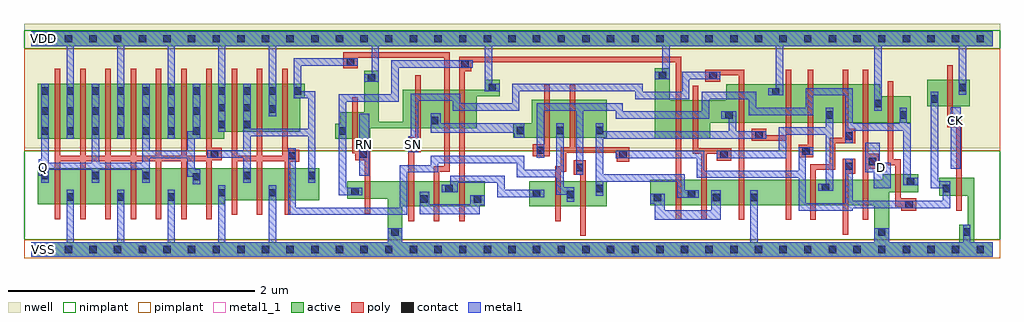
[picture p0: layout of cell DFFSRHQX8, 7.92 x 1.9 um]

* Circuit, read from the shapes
.subckt DFFSRHQX8 CK D Q RN SN VDD VSS
M1 VSS n1 Q VSS nfet w=0.295u l=0.045u m=7
M2 n1 n2 VSS VSS nfet w=0.26u l=0.045u m=3
M3 VSS RN n3 VSS nfet w=0.145u l=0.045u
M4 n4 SN VSS VSS nfet w=0.205u l=0.045u
M5 n5 n1 n4 VSS nfet w=0.205u l=0.045u
M6 n4 n3 n5 VSS nfet w=0.205u l=0.045u
M7 n2 n6 n5 VSS nfet w=0.205u l=0.045u
M8 n7 n8 n2 VSS nfet w=0.205u l=0.045u
M9 n7 n3 n9 VSS nfet w=0.205u l=0.045u
M10 n9 n10 n7 VSS nfet w=0.205u l=0.045u
M11 VSS SN n9 VSS nfet w=0.205u l=0.045u
M12 n11 n7 VSS VSS nfet w=0.205u l=0.045u
M13 n10 n8 n11 VSS nfet w=0.205u l=0.045u
M14 n12 n6 n10 VSS nfet w=0.205u l=0.045u
M15 VSS D n12 VSS nfet w=0.205u l=0.045u
M16 n8 n6 VSS VSS nfet w=0.145u l=0.045u
M17 VSS CK n6 VSS nfet w=0.145u l=0.045u
M18 VDD n1 Q VDD pfet w=0.445u l=0.045u m=7
M19 n1 n2 VDD VDD pfet w=0.39u l=0.045u m=3
M20 VDD RN n3 VDD pfet w=0.215u l=0.045u
M21 n13 SN VDD VDD pfet w=0.31u l=0.045u
M22 n14 n1 n13 VDD pfet w=0.31u l=0.045u
M23 VDD n3 n14 VDD pfet w=0.31u l=0.045u
M24 n2 n8 n13 VDD pfet w=0.31u l=0.045u
M25 n7 n6 n2 VDD pfet w=0.31u l=0.045u
M26 n15 n3 VDD VDD pfet w=0.31u l=0.045u
M27 n7 n10 n15 VDD pfet w=0.31u l=0.045u
M28 VDD SN n7 VDD pfet w=0.31u l=0.045u
M29 n16 n7 VDD VDD pfet w=0.31u l=0.045u
M30 n10 n6 n16 VDD pfet w=0.31u l=0.045u
M31 n17 n8 n10 VDD pfet w=0.31u l=0.045u
M32 VDD D n17 VDD pfet w=0.31u l=0.045u
M33 n8 n6 VDD VDD pfet w=0.215u l=0.045u
M34 VDD CK n6 VDD pfet w=0.215u l=0.045u
.ends

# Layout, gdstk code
import gdstk
lib = gdstk.Library(unit=1e-6, precision=5e-10)
def R(c, l, rs):  # rectangles x0, y0, x1, y1
    for r in rs: c.add(gdstk.rectangle(r[:2], r[2:], *l))
def A(c, l, x, y, w, h, nx, ny, dx, dy):  # array of equal rectangles
    R(c, l, [(x+i*dx, y+j*dy, x+i*dx+w, y+j*dy+h) for i in range(nx) for j in range(ny)])
def P(c, l, *ps):  # polygons
    for p in ps: c.add(gdstk.Polygon(p, *l))
active = (1, 0)
nwell = (2, 0)
poly = (3, 0)
nimplant = (4, 0)
pimplant = (5, 0)
contact = (6, 0)
metal1 = (7, 0)
metal1_1 = (7, 1)

dffsrhqx8 = lib.new_cell('DFFSRHQX8')
R(dffsrhqx8, active, [(4.04,0.35,4.67,0.555), (7.27,1.16,7.615,1.375), (0,1.65,7.8,1.77)])
P(dffsrhqx8, active, [(0.05,1.345),(2.22,1.345),(2.22,1.225),(2.18,1.225),(2.18,0.955),(1.565,0.955),(1.565,0.9),(0.05,0.9)],
  [(2.7,1.45),(2.82,1.45),(2.82,1.035),(3.015,1.035),(3.015,1.295),(3.68,1.295),(3.68,1.375),(3.8,1.375),(3.8,1.245),(3.615,1.245),(3.615,0.985),(2.75,0.985),(2.75,0.9),(2.465,0.9),(2.465,1.02),(2.505,1.02),(2.505,1.115),(2.7,1.115)],
  [(5.06,1.47),(5.18,1.47),(5.18,1.21),(5.64,1.21),(5.64,1.34),(6.89,1.34),(6.89,1.245),(7.135,1.245),(7.135,1.03),(5.51,1.03),(5.51,0.9),(5.06,0.9)],
  [(4.06,1.215),(4.67,1.215),(4.67,0.905),(3.91,0.905),(3.91,1.025),(4.06,1.025)],
  [(0.05,0.66),(2.335,0.66),(2.335,0.4),(1.565,0.4),(1.565,0.365),(0.05,0.365)],
  [(6.91,0.61),(7.195,0.61),(7.195,0.465),(6.96,0.465),(6.96,0.06),(7.53,0.06),(7.53,0.2),(7.6,0.2),(7.6,0.435),(7.365,0.435),(7.365,0.58),(7.65,0.58),(7.65,0.06),(7.8,0.06),(7.8,-0.06),(0,-0.06),(0,0.06),(2.89,0.06),(2.89,0.41),(2.565,0.41),(2.565,0.555),(3.68,0.555),(3.68,0.35),(3.01,0.35),(3.01,0.06),(6.84,0.06),(6.84,0.36),(5.02,0.36),(5.02,0.565),(6.91,0.565)])
R(dffsrhqx8, nwell, [(-0.06,0.82,7.86,1.83)])
P(dffsrhqx8, poly, [(0.19,1.465),(0.235,1.465),(0.235,0.76),(0.395,0.76),(0.395,1.465),(0.44,1.465),(0.44,0.76),(0.6,0.76),(0.6,1.465),(0.645,1.465),(0.645,0.76),(0.805,0.76),(0.805,1.465),(0.85,1.465),(0.85,0.76),(1.01,0.76),(1.01,1.465),(1.055,1.465),(1.055,0.76),(1.215,0.76),(1.215,1.465),(1.26,1.465),(1.26,0.76),(1.42,0.76),(1.42,1.465),(1.465,1.465),(1.465,0.825),(1.545,0.825),(1.545,0.725),(1.465,0.725),(1.465,0.245),(1.42,0.245),(1.42,0.715),(1.26,0.715),(1.26,0.245),(1.215,0.245),(1.215,0.715),(1.055,0.715),(1.055,0.245),(1.01,0.245),(1.01,0.715),(0.85,0.715),(0.85,0.245),(0.805,0.245),(0.805,0.715),(0.645,0.715),(0.645,0.245),(0.6,0.245),(0.6,0.715),(0.44,0.715),(0.44,0.245),(0.395,0.245),(0.395,0.715),(0.235,0.715),(0.235,0.245),(0.19,0.245)],
  [(1.625,1.465),(1.67,1.465),(1.67,0.76),(1.83,0.76),(1.83,1.465),(1.875,1.465),(1.875,0.76),(2.035,0.76),(2.035,1.465),(2.08,1.465),(2.08,0.81),(2.175,0.81),(2.175,0.71),(2.1,0.71),(2.1,0.28),(2.055,0.28),(2.055,0.715),(1.875,0.715),(1.875,0.28),(1.83,0.28),(1.83,0.715),(1.67,0.715),(1.67,0.28),(1.625,0.28)],
  [(2.53,1.6),(3.395,1.6),(3.395,0.63),(3.31,0.63),(3.31,0.23),(3.265,0.23),(3.265,0.675),(3.35,0.675),(3.35,1.555),(2.65,1.555),(2.65,1.47),(2.53,1.47)],
  [(2.605,1.235),(2.65,1.235),(2.65,0.825),(2.75,0.825),(2.75,0.29),(2.705,0.29),(2.705,0.725),(2.63,0.725),(2.63,0.78),(2.605,0.78)],
  [(3.115,1.415),(3.16,1.415),(3.16,0.79),(3.105,0.79),(3.105,0.23),(3.06,0.23),(3.06,0.91),(3.115,0.91)],
  [(3.47,1.565),(5.275,1.565),(5.275,0.24),(5.23,0.24),(5.23,1.52),(3.57,1.52),(3.57,1.445),(3.515,1.445),(3.515,0.23),(3.47,0.23)],
  [(4.16,1.335),(4.205,1.335),(4.205,0.755),(4.07,0.755),(4.07,0.855),(4.16,0.855)],
  [(4.37,1.335),(4.415,1.335),(4.415,0.83),(4.85,0.83),(4.85,0.71),(4.75,0.71),(4.75,0.785),(4.34,0.785),(4.34,0.63),(4.295,0.63),(4.295,0.23),(4.25,0.23),(4.25,0.675),(4.295,0.675),(4.295,0.83),(4.37,0.83)],
  [(5.47,1.46),(5.785,1.46),(5.785,0.24),(5.74,0.24),(5.74,1.415),(5.59,1.415),(5.59,1.36),(5.47,1.36)],
  [(5.365,1.33),(5.41,1.33),(5.41,0.82),(5.68,0.82),(5.68,0.72),(5.56,0.72),(5.56,0.775),(5.48,0.775),(5.48,0.24),(5.435,0.24),(5.435,0.775),(5.365,0.775)],
  [(5.845,0.98),(5.965,0.98),(5.965,0.925),(6.12,0.925),(6.12,1.46),(6.165,1.46),(6.165,0.24),(6.12,0.24),(6.12,0.88),(5.845,0.88)],
  [(6.3,1.46),(6.345,1.46),(6.345,0.75),(6.225,0.75),(6.225,0.85),(6.3,0.85)],
  [(6.585,1.46),(6.63,1.46),(6.63,0.98),(6.685,0.98),(6.685,0.86),(6.525,0.86),(6.525,0.645),(6.365,0.645),(6.365,0.24),(6.32,0.24),(6.32,0.69),(6.48,0.69),(6.48,0.905),(6.585,0.905)],
  [(6.745,1.46),(6.79,1.46),(6.79,0.775),(6.875,0.775),(6.875,0.655),(6.79,0.655),(6.79,0.24),(6.745,0.24)],
  [(6.95,1.365),(6.995,1.365),(6.995,0.73),(7.055,0.73),(7.055,0.415),(7.18,0.415),(7.18,0.315),(7.06,0.315),(7.06,0.345),(7.01,0.345),(7.01,0.685),(6.95,0.685)],
  [(7.43,1.495),(7.475,1.495),(7.475,1.09),(7.55,1.09),(7.55,0.315),(7.505,0.315),(7.505,0.99),(7.43,0.99)],
  [(4.4,0.725),(4.5,0.725),(4.5,0.11),(4.455,0.11),(4.455,0.605),(4.4,0.605)],
  [(6.585,0.735),(6.685,0.735),(6.685,0.615),(6.63,0.615),(6.63,0.12),(6.585,0.12)])
R(dffsrhqx8, nimplant, [(-0.06,0.08,7.86,0.8), (-0.06,1.63,7.86,1.78)])
R(dffsrhqx8, pimplant, [(-0.06,-0.07,7.86,0.08), (-0.06,0.8,7.86,1.63)])
A(dffsrhqx8, contact, 0.07, -0.03, 0.06, 0.06, 39, 2, 0.2, 1.71)
A(dffsrhqx8, contact, 0.285, 0.395, 0.06, 0.06, 3, 1, 0.41, 0)
A(dffsrhqx8, contact, 0.08, 0.57, 0.06, 0.06, 3, 1, 0.41, 0)
A(dffsrhqx8, contact, 0.08, 0.93, 0.06, 0.06, 7, 2, 0.205, 0.165)
A(dffsrhqx8, contact, 3.94, 0.935, 0.06, 0.06, 3, 1, 0.32, 0)
A(dffsrhqx8, contact, 0.08, 1.255, 0.06, 0.06, 11, 1, 0.205, 0)
R(dffsrhqx8, contact, [(2.92,0.11,2.98,0.17), (6.87,0.11,6.93,0.17), (7.56,0.11,7.62,0.17), (7.09,0.335,7.15,0.395), (3.155,0.38,3.215,0.44), (3.59,0.38,3.65,0.44), (5.05,0.39,5.11,0.45), (5.53,0.39,5.59,0.45), (5.835,0.39,5.895,0.45), (4.345,0.415,4.405,0.475), (5.325,0.42,5.385,0.48), (4.07,0.425,4.13,0.485), (1.515,0.43,1.575,0.49), (1.925,0.43,1.985,0.49), (2.595,0.44,2.655,0.5), (3.36,0.465,3.42,0.525), (4.58,0.465,4.64,0.525), (7.395,0.465,7.455,0.525), (6.415,0.475,6.475,0.535), (7.105,0.52,7.165,0.58), (1.31,0.56,1.37,0.62), (1.72,0.57,1.78,0.63), (2.245,0.57,2.305,0.63), (4.42,0.635,4.48,0.695), (6.605,0.645,6.665,0.705), (6.795,0.685,6.855,0.745), (2.085,0.73,2.145,0.79), (4.77,0.74,4.83,0.8), (5.59,0.74,5.65,0.8), (1.455,0.745,1.515,0.805), (2.66,0.745,2.72,0.805), (6.255,0.77,6.315,0.83), (4.1,0.775,4.16,0.835), (3.08,0.82,3.14,0.88), (6.605,0.89,6.665,0.95), (5.875,0.9,5.935,0.96), (2.495,0.93,2.555,0.99), (1.515,0.985,1.575,1.045), (1.72,0.985,1.78,1.045), (7.46,1.01,7.52,1.07), (3.24,1.015,3.3,1.075), (5.63,1.06,5.69,1.12), (6.445,1.06,6.505,1.12), (7.045,1.06,7.105,1.12), (1.925,1.11,1.985,1.17), (1.515,1.12,1.575,1.18), (1.72,1.12,1.78,1.18), (6.84,1.155,6.9,1.215), (7.3,1.19,7.36,1.25), (6.01,1.25,6.07,1.31), (3.71,1.285,3.77,1.345), (7.525,1.285,7.585,1.345), (2.73,1.36,2.79,1.42), (5.09,1.38,5.15,1.44), (5.5,1.38,5.56,1.44), (3.49,1.475,3.55,1.535), (2.56,1.49,2.62,1.55)])
R(dffsrhqx8, metal1, [(2.66,0.6,2.74,1.1), (7.46,0.655,7.54,1.155)])
P(dffsrhqx8, metal1, [(0,1.77),(7.8,1.77),(7.8,1.65),(7.585,1.65),(7.585,1.255),(7.525,1.255),(7.525,1.65),(6.9,1.65),(6.9,1.125),(6.84,1.125),(6.84,1.65),(6.1,1.65),(6.1,1.25),(5.98,1.25),(5.98,1.31),(6.04,1.31),(6.04,1.65),(5.18,1.65),(5.18,1.38),(5.06,1.38),(5.06,1.44),(5.12,1.44),(5.12,1.65),(3.74,1.65),(3.74,1.345),(3.8,1.345),(3.8,1.285),(3.68,1.285),(3.68,1.65),(2.82,1.65),(2.82,1.36),(2.7,1.36),(2.7,1.42),(2.76,1.42),(2.76,1.65),(1.985,1.65),(1.985,1.08),(1.925,1.08),(1.925,1.65),(1.575,1.65),(1.575,0.955),(1.515,0.955),(1.515,1.65),(1.165,1.65),(1.165,0.9),(1.105,0.9),(1.105,1.65),(0.755,1.65),(0.755,0.9),(0.695,0.9),(0.695,1.65),(0.345,1.65),(0.345,0.9),(0.285,0.9),(0.285,1.65),(0,1.65)],
  [(0.08,1.345),(0.14,1.345),(0.14,0.705),(0.49,0.705),(0.49,1.345),(0.55,1.345),(0.55,0.705),(0.9,0.705),(0.9,1.345),(0.96,1.345),(0.96,0.8),(1.265,0.8),(1.265,0.96),(1.31,0.96),(1.31,1.345),(1.37,1.345),(1.37,0.9),(1.325,0.9),(1.325,0.65),(1.37,0.65),(1.37,0.53),(1.31,0.53),(1.31,0.59),(1.265,0.59),(1.265,0.74),(0.96,0.74),(0.96,0.54),(0.9,0.54),(0.9,0.645),(0.55,0.645),(0.55,0.54),(0.49,0.54),(0.49,0.645),(0.14,0.645),(0.14,0.54),(0.08,0.54),(0.08,0.6),(0.06,0.6),(0.06,0.73),(0.08,0.73)],
  [(2.13,1.55),(2.65,1.55),(2.65,1.49),(2.19,1.49),(2.19,1.285),(2.305,1.285),(2.305,0.54),(2.245,0.54),(2.245,0.92),(1.78,0.92),(1.78,0.54),(1.72,0.54),(1.72,0.745),(1.425,0.745),(1.425,0.805),(1.72,0.805),(1.72,1.345),(1.78,1.345),(1.78,0.98),(2.245,0.98),(2.245,1.225),(2.13,1.225)],
  [(2.92,1.535),(3.58,1.535),(3.58,1.475),(2.98,1.475),(2.98,1.2),(2.555,1.2),(2.555,0.5),(2.685,0.5),(2.685,0.44),(2.495,0.44),(2.495,1.26),(2.92,1.26)],
  [(5.28,1.44),(5.59,1.44),(5.59,1.38),(5.34,1.38),(5.34,1.22),(4.9,1.22),(4.9,1.285),(3.96,1.285),(3.96,1.125),(3.42,1.125),(3.42,1.205),(3.14,1.205),(3.14,0.79),(3.06,0.79),(3.06,0.92),(3.08,0.92),(3.08,1.265),(3.48,1.265),(3.48,1.185),(3.9,1.185),(3.9,1.345),(4.96,1.345),(4.96,1.28),(5.28,1.28)],
  [(0.285,0.485),(0.345,0.485),(0.345,0.06),(0.695,0.06),(0.695,0.485),(0.755,0.485),(0.755,0.06),(1.105,0.06),(1.105,0.485),(1.165,0.485),(1.165,0.06),(1.515,0.06),(1.515,0.52),(1.575,0.52),(1.575,0.06),(1.925,0.06),(1.925,0.52),(1.985,0.52),(1.985,0.06),(2.89,0.06),(2.89,0.17),(3.01,0.17),(3.01,0.06),(5.835,0.06),(5.835,0.48),(5.895,0.48),(5.895,0.06),(6.84,0.06),(6.84,0.17),(6.96,0.17),(6.96,0.06),(7.56,0.06),(7.56,0.2),(7.62,0.2),(7.62,0.06),(7.8,0.06),(7.8,-0.06),(0,-0.06),(0,0.06),(0.285,0.06)],
  [(2.085,0.82),(2.145,0.82),(2.145,0.34),(2.99,0.34),(2.99,0.685),(3.24,0.685),(3.24,0.76),(4,0.76),(4,0.645),(4.26,0.645),(4.26,1.025),(4.32,1.025),(4.32,0.505),(4.405,0.505),(4.405,0.385),(4.345,0.385),(4.345,0.445),(4.26,0.445),(4.26,0.585),(3.94,0.585),(3.94,0.7),(3.3,0.7),(3.3,0.625),(3.05,0.625),(3.05,0.28),(2.085,0.28)],
  [(3.24,1.105),(3.32,1.105),(3.32,1.025),(4,1.025),(4,0.905),(3.92,0.905),(3.92,0.945),(3.24,0.945)],
  [(5.44,1.28),(5.88,1.28),(5.88,1.15),(6.285,1.15),(6.285,1.31),(6.665,1.31),(6.665,1.025),(7.045,1.025),(7.045,1.15),(7.105,1.15),(7.105,1.025),(7.135,1.025),(7.135,0.58),(7.195,0.58),(7.195,0.52),(7.075,0.52),(7.075,0.965),(6.665,0.965),(6.665,0.86),(6.605,0.86),(6.605,1.25),(6.345,1.25),(6.345,1.09),(5.82,1.09),(5.82,1.22),(5.5,1.22),(5.5,1.06),(4.74,1.06),(4.74,1.125),(4.48,1.125),(4.48,0.605),(4.42,0.605),(4.42,1.125),(4.16,1.125),(4.16,0.745),(4.1,0.745),(4.1,1.185),(4.8,1.185),(4.8,1.12),(5.44,1.12)],
  [(5.6,1.12),(5.72,1.12),(5.72,0.96),(5.965,0.96),(5.965,0.9),(4.64,0.9),(4.64,0.61),(5.3,0.61),(5.3,0.48),(5.415,0.48),(5.415,0.42),(5.24,0.42),(5.24,0.55),(4.64,0.55),(4.64,0.435),(4.58,0.435),(4.58,1.025),(4.64,1.025),(4.64,0.96),(5.66,0.96),(5.66,1.06),(5.6,1.06)],
  [(6.445,1.15),(6.505,1.15),(6.505,0.475),(6.385,0.475),(6.385,0.535),(6.445,0.535),(6.445,0.93),(6.125,0.93),(6.125,0.74),(5.56,0.74),(5.56,0.8),(6.065,0.8),(6.065,0.99),(6.445,0.99)],
  [(3.4,0.6),(3.84,0.6),(3.84,0.485),(4.16,0.485),(4.16,0.425),(3.78,0.425),(3.78,0.54),(3.46,0.54),(3.46,0.465),(3.33,0.465),(3.33,0.525),(3.4,0.525)],
  [(4.74,0.8),(5.46,0.8),(5.46,0.64),(6.225,0.64),(6.225,0.83),(6.345,0.83),(6.345,0.77),(6.285,0.77),(6.285,0.375),(6.605,0.375),(6.605,0.735),(6.665,0.735),(6.665,0.395),(7.395,0.395),(7.395,0.495),(7.3,0.495),(7.3,1.28),(7.36,1.28),(7.36,0.555),(7.455,0.555),(7.455,0.335),(6.665,0.335),(6.665,0.315),(6.225,0.315),(6.225,0.58),(5.4,0.58),(5.4,0.74),(4.74,0.74)],
  [(3.15,0.47),(3.23,0.47),(3.23,0.365),(3.56,0.365),(3.56,0.44),(3.68,0.44),(3.68,0.36),(3.64,0.36),(3.64,0.285),(3.15,0.285)],
  [(5.02,0.45),(5.14,0.45),(5.14,0.32),(5.515,0.32),(5.515,0.48),(5.595,0.48),(5.595,0.24),(5.06,0.24),(5.06,0.37),(5.02,0.37)],
  [(6.765,0.865),(6.885,0.865),(6.885,0.705),(6.975,0.705),(6.975,0.495),(6.835,0.495),(6.835,0.625),(6.765,0.625)])
R(dffsrhqx8, metal1_1, [(0.06,-0.04,0.14,0.04), (0.06,0.625,0.14,0.705), (6.86,0.625,6.94,0.705), (2.66,0.815,2.74,0.895), (3.06,0.815,3.14,0.895), (7.46,1.005,7.54,1.085), (0.06,1.67,0.14,1.75)])
dffsrhqx8.add(gdstk.Label('CK', (7.5,1.045), layer=7, texttype=1))
dffsrhqx8.add(gdstk.Label('D', (6.9,0.665), layer=7, texttype=1))
dffsrhqx8.add(gdstk.Label('SN', (3.1,0.855), layer=7, texttype=1))
dffsrhqx8.add(gdstk.Label('RN', (2.7,0.855), layer=7, texttype=1))
dffsrhqx8.add(gdstk.Label('Q', (0.1,0.665), layer=7, texttype=1))
dffsrhqx8.add(gdstk.Label('VDD', (0.1,1.71), layer=7, texttype=1))
dffsrhqx8.add(gdstk.Label('VSS', (0.1,0), layer=7, texttype=1))
dffsrhqx8.add(gdstk.Label('DFFSRHQX8', (0,0), layer=63, texttype=0))

lib.write_gds('DFFSRHQX8.gds')
